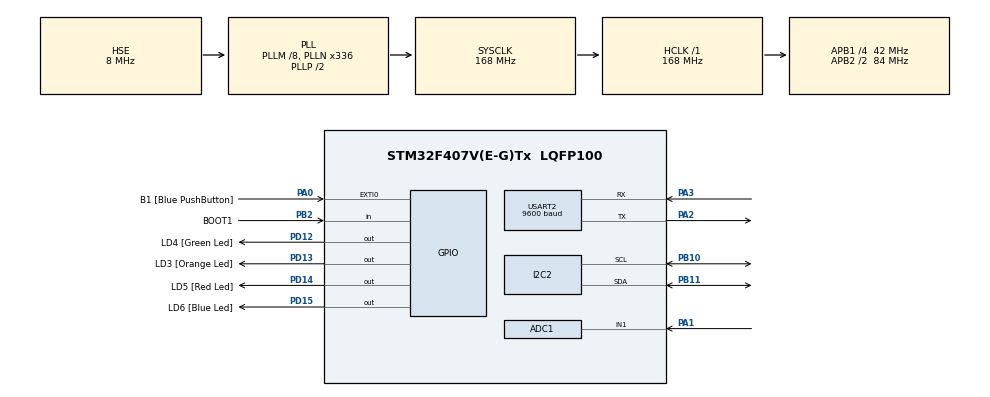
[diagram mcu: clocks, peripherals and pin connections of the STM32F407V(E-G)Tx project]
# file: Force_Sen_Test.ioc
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ADC1.Channel-1\#ChannelRegularConversion=ADC_CHANNEL_1
ADC1.NbrOfConversionFlag=1
ADC1.Rank-1\#ChannelRegularConversion=1
ADC1.SamplingTime-1\#ChannelRegularConversion=ADC_SAMPLETIME_3CYCLES
ADC1.master=1
I2C2.AddressingMode=I2C_ADDRESSINGMODE_10BIT
Mcu.Family=STM32F4
Mcu.Name=STM32F407V(E-G)Tx
Mcu.Package=LQFP100
NVIC.PriorityGroup=NVIC_PRIORITYGROUP_0
PA0-WKUP.GPIO_Label=B1 [Blue PushButton]
PA0-WKUP.GPIO_ModeDefaultEXTI=GPIO_MODE_EVT_RISING
PA0-WKUP.GPIO_PuPd=GPIO_NOPULL
PA0-WKUP.Signal=GPXTI0
PA1.Signal=ADCx_IN1
PA2.Mode=Asynchronous
PA2.Signal=USART2_TX
PA3.Mode=Asynchronous
PA3.Signal=USART2_RX
PB10.Mode=I2C
PB10.Signal=I2C2_SCL
PB11.Mode=I2C
PB11.Signal=I2C2_SDA
PB2.GPIO_Label=BOOT1
PB2.GPIO_Mode=GPIO_MODE_INPUT
PB2.GPIO_PuPd=GPIO_NOPULL
PB2.Signal=GPIO_Input
PC14-OSC32_IN.GPIO_Label=PC14-OSC32_IN
PC14-OSC32_IN.Mode=LSE-External-Oscillator
PC14-OSC32_IN.Signal=RCC_OSC32_IN
PC15-OSC32_OUT.GPIO_Label=PC15-OSC32_OUT
PC15-OSC32_OUT.Mode=LSE-External-Oscillator
PC15-OSC32_OUT.Signal=RCC_OSC32_OUT
PD12.GPIO_Label=LD4 [Green Led]
PD12.GPIO_PuPd=GPIO_NOPULL
PD12.GPIO_Speed=GPIO_SPEED_FREQ_LOW
PD12.Signal=GPIO_Output
PD13.GPIO_Label=LD3 [Orange Led]
PD13.GPIO_PuPd=GPIO_NOPULL
PD13.GPIO_Speed=GPIO_SPEED_FREQ_LOW
PD13.Signal=GPIO_Output
PD14.GPIO_Label=LD5 [Red Led]
PD14.GPIO_PuPd=GPIO_NOPULL
PD14.GPIO_Speed=GPIO_SPEED_FREQ_LOW
PD14.Signal=GPIO_Output
PD15.GPIO_Label=LD6 [Blue Led]
PD15.GPIO_PuPd=GPIO_NOPULL
PD15.GPIO_Speed=GPIO_SPEED_FREQ_LOW
PD15.Signal=GPIO_Output
PH0-OSC_IN.GPIO_Label=PH0-OSC_IN
PH0-OSC_IN.Mode=HSE-External-Oscillator
PH0-OSC_IN.Signal=RCC_OSC_IN
PH1-OSC_OUT.GPIO_Label=PH1-OSC_OUT
PH1-OSC_OUT.Mode=HSE-External-Oscillator
PH1-OSC_OUT.Signal=RCC_OSC_OUT
ProjectManager.HeapSize=0x200
ProjectManager.StackSize=0x400
ProjectManager.TargetToolchain=STM32CubeIDE
RCC.48MHZClocksFreq_Value=48000000
RCC.AHBFreq_Value=168000000
RCC.APB1CLKDivider=RCC_HCLK_DIV4
RCC.APB1Freq_Value=42000000
RCC.APB1TimFreq_Value=84000000
RCC.APB2CLKDivider=RCC_HCLK_DIV2
RCC.APB2Freq_Value=84000000
RCC.APB2TimFreq_Value=168000000
RCC.CortexFreq_Value=168000000
RCC.HCLKFreq_Value=168000000
RCC.HSE_VALUE=8000000
RCC.HSI_VALUE=16000000
RCC.PLLM=8
RCC.PLLN=336
RCC.PLLQ=7
RCC.PLLSourceVirtual=RCC_PLLSOURCE_HSE
RCC.SYSCLKFreq_VALUE=168000000
RCC.SYSCLKSource=RCC_SYSCLKSOURCE_PLLCLK
RCC.VCOOutputFreq_Value=336000000
SH.ADCx_IN1.0=ADC1_IN1,IN1
USART2.BaudRate=9600
USART2.VirtualMode=VM_ASYNC
board=STM32F407G-DISC1

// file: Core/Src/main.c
/* USER CODE BEGIN Header */
/**
  ******************************************************************************
  * @file           : main.c
  * @brief          : Main program body
  ******************************************************************************
  * @attention
  *
  * Copyright (c) 2023 STMicroelectronics.
  * All rights reserved.
  *
  * This software is licensed under terms that can be found in the LICENSE file
  * in the root directory of this software component.
  * If no LICENSE file comes with this software, it is provided AS-IS.
  *
  ******************************************************************************
  */
/* USER CODE END Header */
#include "main.h"

/* USER CODE BEGIN Includes */
#include "hx711.h"
#include "stdio.h"
#include "string.h"
/* USER CODE END Includes */

/* USER CODE BEGIN PTD */
#define BUFFER_SIZE 50
/* USER CODE END PTD */

ADC_HandleTypeDef hadc1;

I2C_HandleTypeDef hi2c2;

UART_HandleTypeDef huart2;

/* USER CODE BEGIN PV */
hx711_t loadcell;
float gRaw = 0;
//uint16_t gRaw = 0;

/* USER CODE END PV */

void SystemClock_Config(void);
static void MX_GPIO_Init(void);
static void MX_I2C2_Init(void);
static void MX_ADC1_Init(void);
static void MX_USART2_UART_Init(void);

/* USER CODE BEGIN 0 */
char gUart_buf[BUFFER_SIZE];

/* USER CODE END 0 */

int main(void)
{

  /* MCU Configuration--------------------------------------------------------*/

  /* Reset of all peripherals, Initializes the Flash interface and the Systick. */
  HAL_Init();

  /* Configure the system clock */
  SystemClock_Config();

  /* Initialize all configured peripherals */
  MX_GPIO_Init();
  MX_I2C2_Init();
  MX_ADC1_Init();
  MX_USART2_UART_Init();
  /* USER CODE BEGIN 2 */
  hx711_init(&loadcell,GPIOB, GPIO_PIN_10, GPIOB, GPIO_PIN_11);
  hx711_coef_set(&loadcell, 365.75); // read afer calibration
  hx711_tare(&loadcell, 10);

  /* USER CODE END 2 */

  /* Infinite loop */
  /* USER CODE BEGIN WHILE */
  while (1)
  {
	 HAL_Delay(10);
	 gRaw = hx711_weight(&loadcell, 10);
	  //HAL_ADC_Start(&hadc1);
	  //HAL_ADC_PollForConversion(&hadc1,HAL_MAX_DELAY);
	  //gRaw = HAL_ADC_GetValue(&hadc1);
	 sprintf(gUart_buf,"raw_Sen_Val: %.2f \r\n",gRaw);
	 HAL_UART_Transmit(&huart2, (uint8_t *)gUart_buf, strlen((char*)gUart_buf), HAL_MAX_DELAY);
	 HAL_Delay(10);
    /* USER CODE END WHILE */

  }
}

void SystemClock_Config(void)
{
  RCC_OscInitTypeDef RCC_OscInitStruct = {0};
  RCC_ClkInitTypeDef RCC_ClkInitStruct = {0};

  /** Configure the main internal regulator output voltage
  */
  __HAL_RCC_PWR_CLK_ENABLE();
  __HAL_PWR_VOLTAGESCALING_CONFIG(PWR_REGULATOR_VOLTAGE_SCALE1);

  /** Initializes the RCC Oscillators according to the specified parameters
  * in the RCC_OscInitTypeDef structure.
  */
  RCC_OscInitStruct.OscillatorType = RCC_OSCILLATORTYPE_HSE;
  RCC_OscInitStruct.HSEState = RCC_HSE_ON;
  RCC_OscInitStruct.PLL.PLLState = RCC_PLL_ON;
  RCC_OscInitStruct.PLL.PLLSource = RCC_PLLSOURCE_HSE;
  RCC_OscInitStruct.PLL.PLLM = 8;
  RCC_OscInitStruct.PLL.PLLN = 336;
  RCC_OscInitStruct.PLL.PLLP = RCC_PLLP_DIV2;
  RCC_OscInitStruct.PLL.PLLQ = 7;
  if (HAL_RCC_OscConfig(&RCC_OscInitStruct) != HAL_OK)
  {
    Error_Handler();
  }

  /** Initializes the CPU, AHB and APB buses clocks
  */
  RCC_ClkInitStruct.ClockType = RCC_CLOCKTYPE_HCLK|RCC_CLOCKTYPE_SYSCLK
                              |RCC_CLOCKTYPE_PCLK1|RCC_CLOCKTYPE_PCLK2;
  RCC_ClkInitStruct.SYSCLKSource = RCC_SYSCLKSOURCE_PLLCLK;
  RCC_ClkInitStruct.AHBCLKDivider = RCC_SYSCLK_DIV1;
  RCC_ClkInitStruct.APB1CLKDivider = RCC_HCLK_DIV4;
  RCC_ClkInitStruct.APB2CLKDivider = RCC_HCLK_DIV2;

  if (HAL_RCC_ClockConfig(&RCC_ClkInitStruct, FLASH_LATENCY_5) != HAL_OK)
  {
    Error_Handler();
  }
}

static void MX_ADC1_Init(void)
{

  ADC_ChannelConfTypeDef sConfig = {0};

  /** Configure the global features of the ADC (Clock, Resolution, Data Alignment and number of conversion)
  */
  hadc1.Instance = ADC1;
  hadc1.Init.ClockPrescaler = ADC_CLOCK_SYNC_PCLK_DIV4;
  hadc1.Init.Resolution = ADC_RESOLUTION_12B;
  hadc1.Init.ScanConvMode = DISABLE;
  hadc1.Init.ContinuousConvMode = DISABLE;
  hadc1.Init.DiscontinuousConvMode = DISABLE;
  hadc1.Init.ExternalTrigConvEdge = ADC_EXTERNALTRIGCONVEDGE_NONE;
  hadc1.Init.ExternalTrigConv = ADC_SOFTWARE_START;
  hadc1.Init.DataAlign = ADC_DATAALIGN_RIGHT;
  hadc1.Init.NbrOfConversion = 1;
  hadc1.Init.DMAContinuousRequests = DISABLE;
  hadc1.Init.EOCSelection = ADC_EOC_SINGLE_CONV;
  if (HAL_ADC_Init(&hadc1) != HAL_OK)
  {
    Error_Handler();
  }

  /** Configure for the selected ADC regular channel its corresponding rank in the sequencer and its sample time.
  */
  sConfig.Channel = ADC_CHANNEL_1;
  sConfig.Rank = 1;
  sConfig.SamplingTime = ADC_SAMPLETIME_3CYCLES;
  if (HAL_ADC_ConfigChannel(&hadc1, &sConfig) != HAL_OK)
  {
    Error_Handler();
  }

}

static void MX_I2C2_Init(void)
{

  hi2c2.Instance = I2C2;
  hi2c2.Init.ClockSpeed = 100000;
  hi2c2.Init.DutyCycle = I2C_DUTYCYCLE_2;
  hi2c2.Init.OwnAddress1 = 0;
  hi2c2.Init.AddressingMode = I2C_ADDRESSINGMODE_10BIT;
  hi2c2.Init.DualAddressMode = I2C_DUALADDRESS_DISABLE;
  hi2c2.Init.OwnAddress2 = 0;
  hi2c2.Init.GeneralCallMode = I2C_GENERALCALL_DISABLE;
  hi2c2.Init.NoStretchMode = I2C_NOSTRETCH_DISABLE;
  if (HAL_I2C_Init(&hi2c2) != HAL_OK)
  {
    Error_Handler();
  }

}

static void MX_USART2_UART_Init(void)
{

  huart2.Instance = USART2;
  huart2.Init.BaudRate = 9600;
  huart2.Init.WordLength = UART_WORDLENGTH_8B;
  huart2.Init.StopBits = UART_STOPBITS_1;
  huart2.Init.Parity = UART_PARITY_NONE;
  huart2.Init.Mode = UART_MODE_TX_RX;
  huart2.Init.HwFlowCtl = UART_HWCONTROL_NONE;
  huart2.Init.OverSampling = UART_OVERSAMPLING_16;
  if (HAL_UART_Init(&huart2) != HAL_OK)
  {
    Error_Handler();
  }

}

static void MX_GPIO_Init(void)
{
  GPIO_InitTypeDef GPIO_InitStruct = {0};

  /* GPIO Ports Clock Enable */
  __HAL_RCC_GPIOC_CLK_ENABLE();
  __HAL_RCC_GPIOH_CLK_ENABLE();
  __HAL_RCC_GPIOA_CLK_ENABLE();
  __HAL_RCC_GPIOB_CLK_ENABLE();
  __HAL_RCC_GPIOD_CLK_ENABLE();

  /*Configure GPIO pin Output Level */
  HAL_GPIO_WritePin(GPIOD, LD4_Pin|LD3_Pin|LD5_Pin|LD6_Pin, GPIO_PIN_RESET);

  /*Configure GPIO pin : B1_Pin */
  GPIO_InitStruct.Pin = B1_Pin;
  GPIO_InitStruct.Mode = GPIO_MODE_EVT_RISING;
  GPIO_InitStruct.Pull = GPIO_NOPULL;
  HAL_GPIO_Init(B1_GPIO_Port, &GPIO_InitStruct);

  /*Configure GPIO pin : BOOT1_Pin */
  GPIO_InitStruct.Pin = BOOT1_Pin;
  GPIO_InitStruct.Mode = GPIO_MODE_INPUT;
  GPIO_InitStruct.Pull = GPIO_NOPULL;
  HAL_GPIO_Init(BOOT1_GPIO_Port, &GPIO_InitStruct);

  /*Configure GPIO pins : LD4_Pin LD3_Pin LD5_Pin LD6_Pin */
  GPIO_InitStruct.Pin = LD4_Pin|LD3_Pin|LD5_Pin|LD6_Pin;
  GPIO_InitStruct.Mode = GPIO_MODE_OUTPUT_PP;
  GPIO_InitStruct.Pull = GPIO_NOPULL;
  GPIO_InitStruct.Speed = GPIO_SPEED_FREQ_LOW;
  HAL_GPIO_Init(GPIOD, &GPIO_InitStruct);

}

void Error_Handler(void)
{
  __disable_irq();
  while (1)
  {
  }
}
